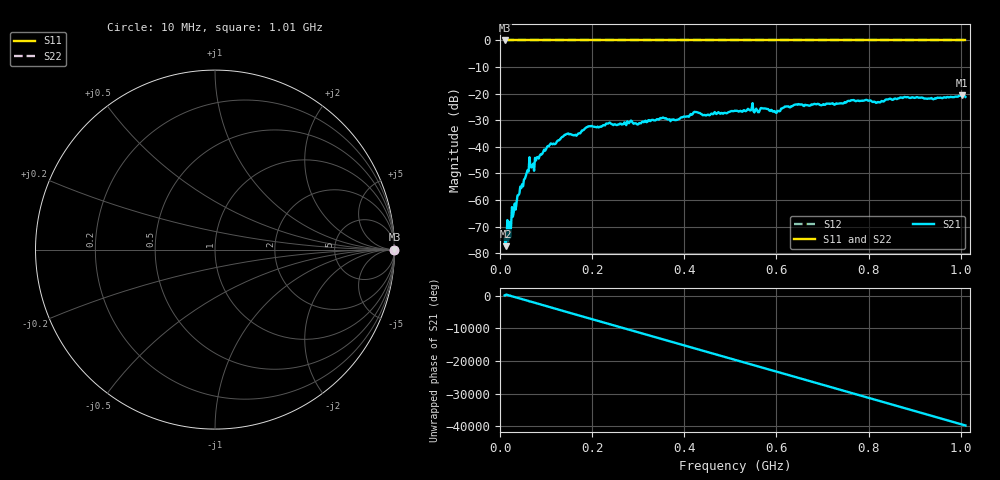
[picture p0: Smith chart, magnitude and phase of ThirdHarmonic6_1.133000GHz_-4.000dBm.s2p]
! 8/16/2025 11:02:17 AM
! C:\ANRITSUVNA\TEMP\TEMP.S2P
! CHANNEL.1
! TR.MEASUREMENT
! RAW.DATA
! RF.CORRECTION.OFF
! AVERAGING.OFF
! IF.BANDWIDTH: 5KHZ
! SWEEPTYPE:  FREQ.SWEEP(Linear)
! Reference Plane Port Info
! PORT:  PORT1  PORT2
! DISTANCE:  0  m  0  m
! TIME:  0  s  0  s
! PHASE.OFFSET:  0  deg.  0  deg.
! LOSS:  0  dB  0  dB
! REF.LOSS:  0  dB  0  dB
! REF.FREQ:  0  Hz  0  Hz
! Power Info
! POWER:  -20  dBm  -20  dBm
! EFF.POWER:  -20  dBm  -20  dBm
! SOURCE.ATTEN:  0  dB  0  dB
! TEST.ATTEN:  0  dB  0  dB
# GHZ S RI R 50.0
! FREQ.GHZ  S11RE  S11IM  S21RE  S21IM  S12RE  S12IM  S22RE  S22IM
!; PortSelection: Port_12
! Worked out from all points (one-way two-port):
!   501 points, 10 MHz to 1.01 GHz, reference 50 ohm
!   highest |S21| = -20.60 dB at 1.002 GHz (marker M1); lowest = -77.4 dB at 12 MHz (marker M2)
!   lowest |S11| = 0.0 dB at 10 MHz (marker M3)
!   |S11| at or under -10 dB: nowhere
!   |S22| runs from 0.0 to 0.0 dB; largest |S21 - S12| = 1.1
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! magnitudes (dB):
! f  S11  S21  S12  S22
! 10 MHz  0.0  -74.4  0.0  0.0
! 12 MHz  0.0  -77.4  0.0  0.0
! 22 MHz  0.0  -74.2  0.0  0.0
! 28 MHz  0.0  -66.3  0.0  0.0
! 40 MHz  0.0  -58.2  0.0  0.0
! 62 MHz  0.0  -49.3  0.0  0.0
! 70 MHz  0.0  -47.1  0.0  0.0
! 106 MHz  0.0  -39.8  0.0  0.0
! 144 MHz  0.0  -35.2  0.0  0.0
! 178 MHz  0.0  -33.9  0.0  0.0
! 234 MHz  0.0  -31.3  0.0  0.0
! 302 MHz  0.0  -31.1  0.0  0.0
! 344 MHz  0.0  -29.8  0.0  0.0
! 424 MHz  0.0  -26.9  0.0  0.0
! 510 MHz  0.0  -26.4  0.0  0.0
! 570 MHz  0.0  -25.6  0.0  0.0
! 602 MHz  0.0  -26.5  0.0  0.0
! 622 MHz  0.0  -24.8  0.0  0.0
! 678 MHz  0.0  -24.1  0.0  0.0
! 844 MHz  0.0  -22.0  0.0  0.0
! 1.002 GHz  0.0  -20.6  0.0  0.0
! 1.01 GHz  0.0  -21.2  0.0  0.0
